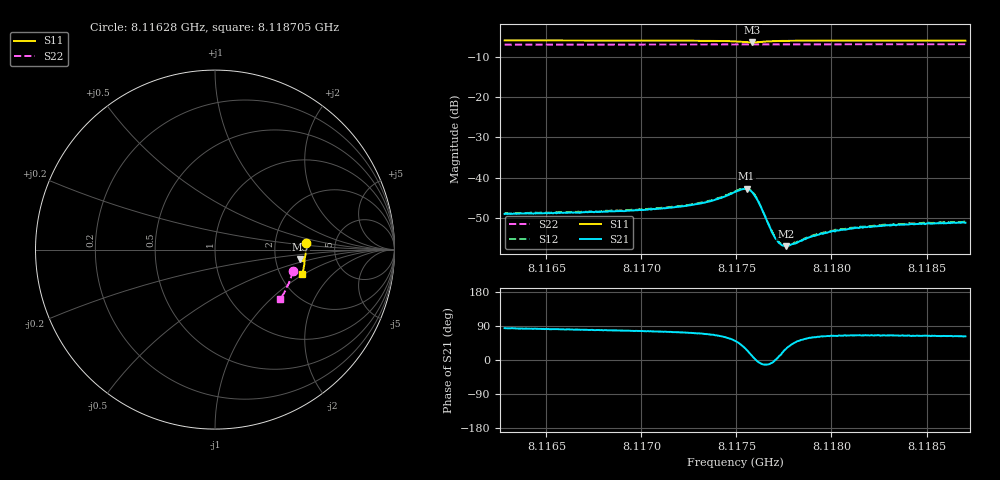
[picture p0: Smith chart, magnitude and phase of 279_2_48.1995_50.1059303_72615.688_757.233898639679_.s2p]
#  HZ  S  RI  R  50.00
! Rohde & Schwarz Vector Network Analyzer
! Rohde-Schwarz,ZNB20-2Port,1311601062101988,3.16
! Created: UTC 3/20/2024, 11:48:35 AM
! freq[Hz]  re:S11  im:S11  re:S21  im:S21  re:S12  im:S12  re:S22  im:S22
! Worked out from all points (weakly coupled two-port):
!   401 points, 8.11628 GHz to 8.118705 GHz, reference 50 ohm
!   highest |S21| = -42.77 dB at 8.117553 GHz (marker M1); lowest = -57.0 dB at 8.117759 GHz (marker M2)
!   lowest |S11| = -6.4 dB at 8.117583 GHz (marker M3), VSWR 2.84, Z = 139 - j18.8 ohm
!   |S11| at or under -10 dB: nowhere
!   |S22| runs from -7.0 to -6.8 dB; largest |S21 - S12| = 0.0002
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8.1162801e9  0.5055 0.0373  0.00037 0.00352  0.000448 0.00355  0.4326 -0.1207
8.1166862e9  0.5064 0.00646  0.000645 0.00364  0.000708 0.00371  0.4253 -0.1479
8.1170923e9  0.5048 -0.0252  0.00108 0.00395  0.00112 0.00403  0.4162 -0.1747
8.1172499e9  0.503 -0.0386  0.00142 0.00429  0.00146 0.00435  0.4121 -0.1851
8.1173226e9  0.5015 -0.0453  0.00172 0.00454  0.00179 0.00462  0.4102 -0.1897
8.1174075e9  0.4981 -0.0538  0.00242 0.00496  0.00252 0.00501  0.4078 -0.1953
8.1174923e9  0.4896 -0.0623  0.00421 0.00513  0.00433 0.00519  0.405 -0.2007
8.1175287e9  0.4826 -0.0628  0.00561 0.00446  0.00574 0.00451  0.4038 -0.2029
8.117553e9  0.4779 -0.0598  0.00646 0.00333  0.00662 0.00332  0.4029 -0.204
8.1175833e9  0.4759 -0.0522  0.00648 0.00115  0.00661 0.00112  0.4021 -0.2056
8.1176014e9  0.4783 -0.0481  0.00571 4.86e-05  0.00582 3.3e-06  0.4016 -0.2066
8.1176196e9  0.4823 -0.0458  0.00476 -0.000558  0.00481 -0.00064  0.4014 -0.2075
8.1176742e9  0.4926 -0.0489  0.00241 -0.000456  0.00244 -0.000463  0.4003 -0.2112
8.1176984e9  0.4952 -0.0519  0.00188 -9.3e-05  0.00189 -9.4e-05  0.3996 -0.2127
8.1177287e9  0.497 -0.0558  0.00148 0.00031  0.0015 0.000328  0.3987 -0.2146
8.117759e9  0.4981 -0.0593  0.00124 0.000671  0.00127 0.000678  0.398 -0.2166
8.1177833e9  0.4985 -0.0622  0.00114 0.000905  0.00115 0.000908  0.397 -0.2182
8.1178984e9  0.4987 -0.0735  0.000937 0.00161  0.000998 0.00163  0.3934 -0.2257
8.1180257e9  0.4974 -0.0846  0.00098 0.00198  0.00102 0.00201  0.3895 -0.2336
8.1181227e9  0.4963 -0.0924  0.00101 0.00215  0.00103 0.00219  0.3861 -0.2395
8.1183046e9  0.4934 -0.1064  0.00109 0.0023  0.0011 0.00233  0.3795 -0.2504
8.1187046e9  0.486 -0.1359  0.00127 0.00244  0.00132 0.00248  0.3643 -0.274
